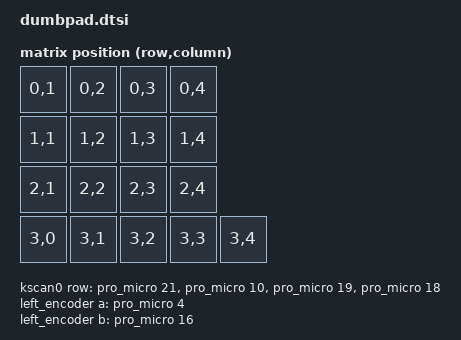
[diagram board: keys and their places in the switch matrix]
/*
 * Copyright (c) 2023 Daniel Ferrer
 *
 * SPDX-License-Identifier: MIT
 */

#include <dt-bindings/zmk/matrix_transform.h>
#include <dt-bindings/zmk/hid_indicators.h>

/ {
    chosen {
        zmk,kscan = &kscan0;
        zmk,matrix_transform = &default_transform;
    };

    default_transform: keymap_transform_0 {
        compatible = "zmk,matrix-transform";
        columns = <5>;
        rows = <4>;

        map = <
RC(0,1) RC(0,2) RC(0,3) RC(0,4)
RC(1,1) RC(1,2) RC(1,3) RC(1,4)
RC(2,1) RC(2,2) RC(2,3) RC(2,4)
RC(3,0) RC(3,1) RC(3,2) RC(3,3) RC(3,4)
        >;
    };

    kscan0: kscan {
        compatible = "zmk,kscan-gpio-matrix";
        label = "KSCAN";

        diode-direction = "col2row";
        // TEST: row 1 (2nd entry) moved from pro_micro 20 (F5) to pro_micro 10
        // (B6) -- the exact pin used for the original bypass on the old PCB.
        // F5 and D0 both checked out electrically but the matrix scan never
        // registered either; trying a pin with a known-good track record.
        // NOTE: pro_micro 10 is normally the right status LED -- moved to
        // pro_micro 1 below to avoid the conflict while testing this.
        row-gpios
            = <&pro_micro 21 (GPIO_ACTIVE_HIGH | GPIO_PULL_DOWN)>
            , <&pro_micro 10 (GPIO_ACTIVE_HIGH | GPIO_PULL_DOWN)>
            , <&pro_micro 19 (GPIO_ACTIVE_HIGH | GPIO_PULL_DOWN)>
            , <&pro_micro 18 (GPIO_ACTIVE_HIGH | GPIO_PULL_DOWN)>
            ;
    };

    left_encoder: encoder_left {
        compatible = "alps,ec11";
        label = "LEFT_ENCODER";
        a-gpios = <&pro_micro 4 (GPIO_ACTIVE_HIGH | GPIO_PULL_UP)>;
        b-gpios = <&pro_micro 16 (GPIO_ACTIVE_HIGH | GPIO_PULL_UP)>;
        resolution = <2>;
        status = "disabled";
    };

    sensors {
        compatible = "zmk,keymap-sensors";
        sensors = <&left_encoder>;
    };

    // v1.1 PCB status LEDs (right/center/left, QMK LED_00/LED_01/LED_02).
    // Pin numbers derived from the original ATmega32u4 pin assignment
    // (B6/B1/B3) via the standard pro_micro numbering already used above.
    leds {
        compatible = "gpio-leds";

        // TEST: moved from pro_micro 10 to pro_micro 1 -- pin 10 (B6) is
        // being reused for the row-1 bypass test above.
        led_right: led_right {
            gpios = <&pro_micro 1 GPIO_ACTIVE_HIGH>;
        };

        led_center: led_center {
            gpios = <&pro_micro 15 GPIO_ACTIVE_HIGH>;
        };

        led_left: led_left {
            gpios = <&pro_micro 14 GPIO_ACTIVE_HIGH>;
        };
    };

    // TEST: forced always-on (both brightness levels =100, plus while
    // disconnected) regardless of indicator state, just to check the 3 LEDs
    // physically light up. To restore: delete the 2 added lines in each
    // node below (inactive-brightness / disconnected-brightness).
    indicators {
        compatible = "zmk,indicator-leds";

        num_lock_indicator: num_lock_indicator {
            indicator = <HID_INDICATOR_NUM_LOCK>;
            leds = <&led_right>;
            on-while-idle;
            inactive-brightness = <100>;
            disconnected-brightness = <100>;
        };

        scroll_lock_indicator: scroll_lock_indicator {
            indicator = <HID_INDICATOR_SCROLL_LOCK>;
            leds = <&led_center>;
            on-while-idle;
            inactive-brightness = <100>;
            disconnected-brightness = <100>;
        };

        caps_lock_indicator: caps_lock_indicator {
            indicator = <HID_INDICATOR_CAPS_LOCK>;
            leds = <&led_left>;
            on-while-idle;
            inactive-brightness = <100>;
            disconnected-brightness = <100>;
        };
    };
};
